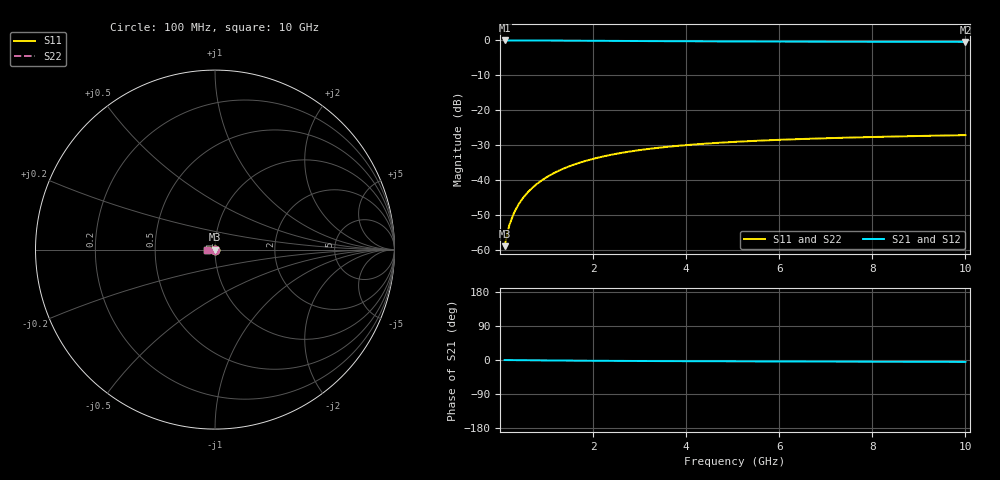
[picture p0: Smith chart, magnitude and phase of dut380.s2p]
! Touchstone file exported from HFSS 2024.1.0
!  File:  C:/UserFiles/LocalFiles/RDL_TSV_Batchsim/temp_TSV1_380_1779622711.aedt
!  Generated:  07:44:09 PM May 24, 2026
!  Design:  TSV1
!  Project:  temp_TSV1_380_1779622711
!  Setup:  Setup1
!  Solution:  Sweep
! Variables:
!  dtsv = 9.32um
!  hbump = 3um
!  htsv = 79.13um
!  lrdl = 252.1521522um
!  p = 40
!  p1 = 46.4um
!  t = 500um
!  trdl = 3um
!  wrdl = 24.89489489um
# GHz S MA R 50.000000
! Terminal data exported
! Port[1] = TSV22_T1
! Port[2] = TSV22_T2
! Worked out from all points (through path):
!   100 points, 100 MHz to 10 GHz, reference 50 ohm
!   highest |S21| = 0.00 dB at 100 MHz (marker M1); lowest = -0.4 dB at 10 GHz (marker M2)
!   lowest |S11| = -58.9 dB at 100 MHz (marker M3), VSWR 1.00, Z = 50 - j0.113 ohm
!   |S11| at or under -10 dB: start of sweep to end of sweep
!   |S22| runs from -58.9 to -27.1 dB; largest |S21 - S12| = 3.5e-15
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0.1  0.001141 -83.3  0.9998 -0.1  0.9998 -0.1  0.001141 -83.3
! Gamma 0 0 0 0
! Port Impedance 50 0 50 0
0.2  0.002267 -89.0  0.9997 -0.2  0.9997 -0.2  0.002267 -89.0
0.3  0.003397 -92.1  0.9995 -0.4  0.9995 -0.4  0.003397 -92.1
0.4  0.004524 -94.5  0.9992 -0.5  0.9992 -0.5  0.004524 -94.5
0.5  0.005644 -96.6  0.9989 -0.6  0.9989 -0.6  0.005644 -96.6
0.6  0.006752 -98.6  0.9985 -0.7  0.9985 -0.7  0.006752 -98.6
0.7  0.007847 -100.5  0.9981 -0.8  0.9981 -0.8  0.007847 -100.5
0.8  0.008927 -102.4  0.9976 -0.9  0.9976 -0.9  0.008927 -102.4
0.9  0.00999 -104.1  0.9971 -1.0  0.9971 -1.0  0.00999 -104.1
1.1  0.01206 -107.6  0.9959 -1.2  0.9959 -1.2  0.01206 -107.6
1.4  0.015 -112.5  0.9938 -1.5  0.9938 -1.5  0.015 -112.5
1.6  0.01684 -115.6  0.9923 -1.7  0.9923 -1.7  0.01684 -115.6
1.8  0.01858 -118.6  0.9907 -1.9  0.9907 -1.9  0.01858 -118.6
2.1  0.02101 -122.9  0.9882 -2.1  0.9882 -2.1  0.02101 -122.9
2.5  0.0239 -128.2  0.9848 -2.4  0.9848 -2.4  0.0239 -128.2
2.9  0.02643 -133.0  0.9815 -2.6  0.9815 -2.6  0.02643 -133.0
3.4  0.02913 -138.5  0.9777 -2.8  0.9777 -2.8  0.02913 -138.5
4.2  0.0326 -146.2  0.9724 -3.2  0.9724 -3.2  0.0326 -146.2
5.1  0.03558 -153.5  0.9675 -3.5  0.9675 -3.5  0.03558 -153.5
6.7  0.03933 -164.1  0.9612 -4.0  0.9612 -4.0  0.03933 -164.1
8.4  0.04215 -173.0  0.9567 -4.6  0.9567 -4.6  0.04215 -173.0
10  0.04423 179.9  0.9538 -5.1  0.9538 -5.1  0.04423 179.9
